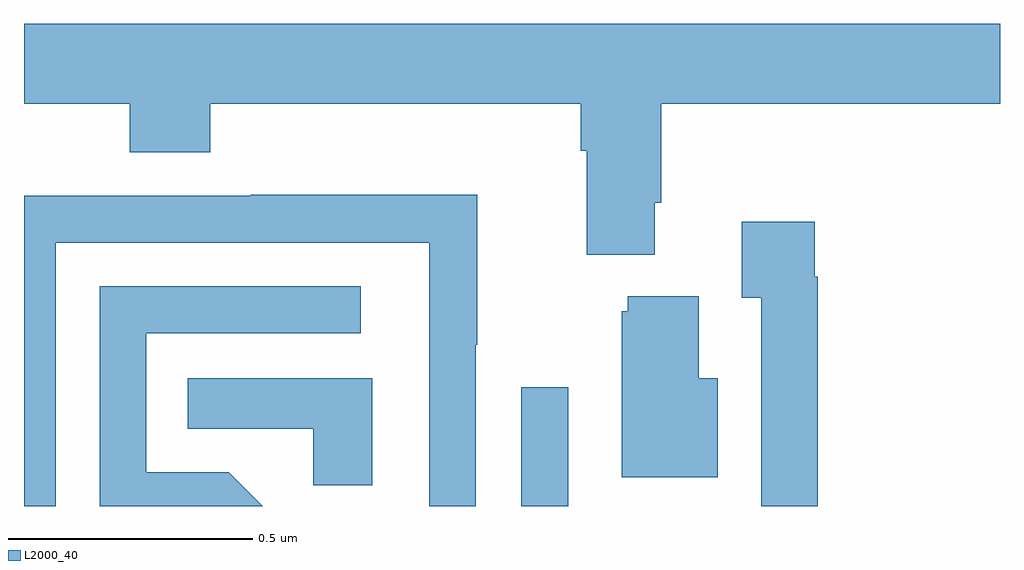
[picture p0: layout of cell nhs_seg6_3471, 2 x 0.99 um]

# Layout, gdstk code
import gdstk
lib = gdstk.Library(unit=1e-6, precision=1e-09)
def R(c, l, rs):  # rectangles x0, y0, x1, y1
    for r in rs: c.add(gdstk.rectangle(r[:2], r[2:], *l))
def P(c, l, *ps):  # polygons
    for p in ps: c.add(gdstk.Polygon(p, *l))
L2000_40 = (2000, 40)

nhs_seg6_3471 = lib.new_cell('nhs_seg6_3471')
R(nhs_seg6_3471, L2000_40, [(158.019,958.5,158.115,958.744)])
P(nhs_seg6_3471, L2000_40, [(157,959.324),(157.217,959.324),(157.217,959.225),(157.382,959.225),(157.382,959.324),(158.141,959.324),(158.141,959.228),(158.153,959.228),(158.153,959.015),(158.293,959.015),(158.293,959.122),(158.306,959.122),(158.306,959.324),(159,959.324),(159,959.488),(157,959.488)],
  [(157.065,959.04),(157.83,959.04),(157.83,958.5),(157.926,958.5),(157.926,958.831),(157.929,958.831),(157.929,959.138),(157.465,959.138),(157.465,959.136),(157,959.136),(157,958.5),(157.065,958.5)],
  [(158.627,958.97),(158.62,958.97),(158.62,959.083),(158.471,959.083),(158.471,958.927),(158.511,958.927),(158.511,958.5),(158.627,958.5)],
  [(157.42,958.569),(157.251,958.569),(157.251,958.854),(157.69,958.854),(157.69,958.95),(157.155,958.95),(157.155,958.5),(157.489,958.5)],
  [(158.422,958.762),(158.383,958.762),(158.383,958.93),(158.237,958.93),(158.237,958.899),(158.225,958.899),(158.225,958.559),(158.422,958.559)],
  [(157.714,958.762),(157.336,958.762),(157.336,958.658),(157.593,958.658),(157.593,958.543),(157.714,958.543)])

lib.write_gds('nhs_seg6_3471.gds')
